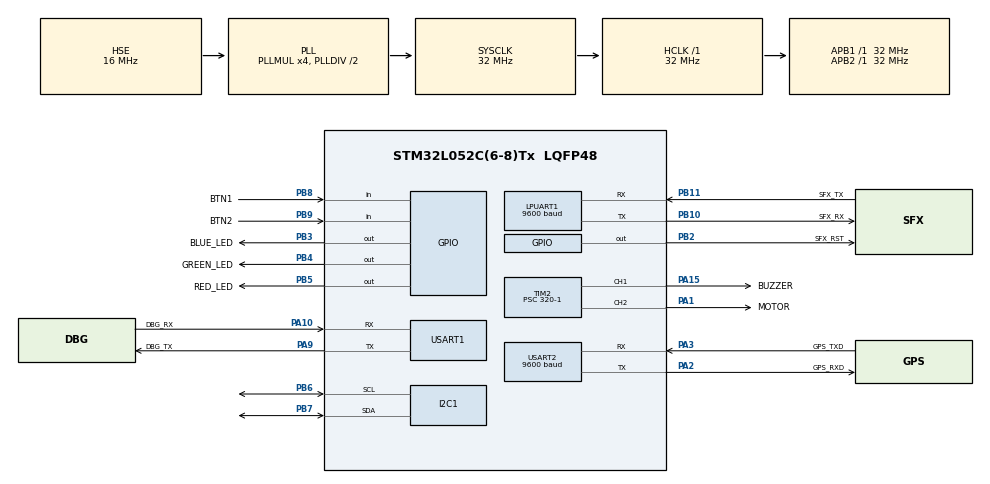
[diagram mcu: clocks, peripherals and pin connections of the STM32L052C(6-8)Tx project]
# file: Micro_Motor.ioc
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I2C1.OwnAddress=15
I2C1.Timing=0x00707CBB
LPUART1.BaudRate=9600
LPUART1.WordLength=UART_WORDLENGTH_8B
Mcu.Family=STM32L0
Mcu.Name=STM32L052C(6-8)Tx
Mcu.Package=LQFP48
NVIC.RNG_LPUART1_IRQn=true\:0\:0\:false\:false\:true\:true\:true
NVIC.USART1_IRQn=true\:0\:0\:false\:false\:true\:true\:true
NVIC.USART2_IRQn=true\:0\:0\:false\:false\:true\:true\:true
PA1.GPIO_Label=MOTOR
PA1.Signal=S_TIM2_CH2
PA10.GPIO_Label=DBG_RX
PA10.Mode=Asynchronous
PA10.Signal=USART1_RX
PA15.GPIO_Label=BUZZER
PA15.Signal=S_TIM2_CH1
PA2.GPIO_Label=GPS_RXD
PA2.Mode=Asynchronous
PA2.Signal=USART2_TX
PA3.GPIO_Label=GPS_TXD
PA3.Mode=Asynchronous
PA3.Signal=USART2_RX
PA9.GPIO_Label=DBG_TX
PA9.Mode=Asynchronous
PA9.Signal=USART1_TX
PB10.GPIO_Label=SFX_RX
PB10.Mode=Asynchronous
PB10.Signal=LPUART1_TX
PB11.GPIO_Label=SFX_TX
PB11.Mode=Asynchronous
PB11.Signal=LPUART1_RX
PB2.GPIO_Label=SFX_RST
PB2.GPIO_PuPd=GPIO_PULLUP
PB2.Signal=GPIO_Output
PB3.GPIO_Label=BLUE_LED
PB3.Signal=GPIO_Output
PB4.GPIO_Label=GREEN_LED
PB4.Signal=GPIO_Output
PB5.GPIO_Label=RED_LED
PB5.Signal=GPIO_Output
PB6.Mode=I2C
PB6.Signal=I2C1_SCL
PB7.Mode=I2C
PB7.Signal=I2C1_SDA
PB8.GPIO_Label=BTN1
PB8.Signal=GPIO_Input
PB9.GPIO_Label=BTN2
PB9.Signal=GPIO_Input
PH0-OSC_IN.Mode=HSE-External-Oscillator
PH0-OSC_IN.Signal=RCC_OSC_IN
PH1-OSC_OUT.Mode=HSE-External-Oscillator
PH1-OSC_OUT.Signal=RCC_OSC_OUT
ProjectManager.HeapSize=0x200
ProjectManager.StackSize=0x400
ProjectManager.TargetToolchain=STM32CubeIDE
RCC.AHBFreq_Value=32000000
RCC.APB1Freq_Value=32000000
RCC.APB1TimFreq_Value=32000000
RCC.APB2Freq_Value=32000000
RCC.APB2TimFreq_Value=32000000
RCC.HCLKFreq_Value=32000000
RCC.HSE_VALUE=16000000
RCC.HSI16_VALUE=16000000
RCC.HSI48_VALUE=48000000
RCC.HSI_VALUE=16000000
RCC.LSE_VALUE=32768
RCC.MSI_VALUE=2097000
RCC.PLLMUL=RCC_PLLMUL_4
RCC.PLLSourceVirtual=RCC_PLLSOURCE_HSE
RCC.SYSCLKFreq_VALUE=32000000
RCC.SYSCLKSource=RCC_SYSCLKSOURCE_PLLCLK
RCC.VCOOutputFreq_Value=64000000
SH.S_TIM2_CH1.0=TIM2_CH1,PWM Generation1 CH1
SH.S_TIM2_CH2.0=TIM2_CH2,PWM Generation2 CH2
TIM2.Channel-PWM\ Generation1\ CH1=TIM_CHANNEL_1
TIM2.Channel-PWM\ Generation2\ CH2=TIM_CHANNEL_2
TIM2.Period=200-1
TIM2.Prescaler=320-1
USART1.VirtualMode-Asynchronous=VM_ASYNC
USART2.BaudRate=9600
USART2.VirtualMode-Asynchronous=VM_ASYNC
board=custom

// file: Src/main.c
/* USER CODE BEGIN Header */
/**
 ******************************************************************************
 * @file           : main.c
 * @brief          : Main program body
 ******************************************************************************
 * @attention
 *
 * <h2><center>&copy; Copyright (c) 2019 STMicroelectronics.
 * All rights reserved.</center></h2>
 *
 * This software component is licensed by ST under BSD 3-Clause license,
 * the "License"; You may not use this file except in compliance with the
 * License. You may obtain a copy of the License at:
 *                        opensource.org/licenses/BSD-3-Clause
 *
 ******************************************************************************
 */

/*
 * main.c
 *
 * Warefab Konnect STM32L0-SIGFOX Development Board
 *
 * Motor control example on TIM2-CH2
 *
 * Created on: Feb 26, 2020
 *
 * Author: Muchiri John
 * (c) wwww.warefab.com
 *
 * This software component is licensed by warefab under BSD 3-Clause license,
 * the "License"; You may not use this file except in compliance with the
 * License. You may obtain a copy of the License at:
 *
 * opensource.org/licenses/BSD-3-Clause
 *
 */

#include <stdio.h>
#include <stdlib.h>
#include <math.h>
/* USER CODE END Header */

#include "main.h"
#include "i2c.h"
#include "usart.h"
#include "tim.h"
#include "gpio.h"

/* USER CODE BEGIN Includes */
#include "sigfox.h"
#include "buzzer.h"
#include "sht30x.h"
/* USER CODE END Includes */

/* USER CODE BEGIN PV */
static const char NMEA_NONE[] =
		"$PMTK314,0,0,0,0,0,0,0,0,0,0,0,0,0,0,0,0,0,0,0*28\r\n";
/* USER CODE END PV */

void SystemClock_Config(void);

/* USER CODE BEGIN 0 */
uint8_t btn1_flag = 0;
uint8_t btn2_flag = 1;

uint32_t prev_ticks = 0;
short int temp = 0;

char buffer[40] = { 0 };

uint16_t sgfx = 0;
uint8_t t_sgfx = 0;

inline uint8_t adcToPercent(uint16_t);
/* USER CODE END 0 */

int main(void) {

	/* MCU Configuration--------------------------------------------------------*/

	/* Reset of all peripherals, Initializes the Flash interface and the Systick. */
	HAL_Init();

	/* Configure the system clock */
	SystemClock_Config();

	/* Initialize all configured peripherals */
	MX_GPIO_Init();
	MX_LPUART1_UART_Init();
	MX_USART1_UART_Init();
	MX_USART2_UART_Init();
	MX_TIM2_Init();
	MX_I2C1_Init();
	/* USER CODE BEGIN 2 */
	//disable gps nmea output
	usart_puts(&huart2, (char*) NMEA_NONE);
	//reset sigfox module
	resetSigfoxModule();
	//print wisol info, ID/PAC
	getSigfoxPACID();
	//init buzzer, motor and green led - stop mode
	stopBuzzer(); //stop buzzer
	driveMotor(0); //stop motor
	GREEN_LED_GPIO_Port->BSRR = GREEN_LED_Pin; //green led on
	//init sht30x temp&hum sensor
	sht30x_init(0x44);
	/* USER CODE END 2 */

	/* Infinite loop */
	/* USER CODE BEGIN WHILE */
	while (1) {
		if ((HAL_GPIO_ReadPin(BTN1_GPIO_Port, BTN1_Pin) == 1) || temp >= 70) {
			if (btn1_flag == 0 && btn2_flag == 1) {
				RED_LED_GPIO_Port->BSRR = RED_LED_Pin;
				GREEN_LED_GPIO_Port->BRR = GREEN_LED_Pin;
				//setBuzzerFreq(600);
				driveMotor(1200);
				btn1_flag = 1;
				btn2_flag = 0;
				usart_puts(&huart1, (char*) "Motor ON\r\n");
			}
		}

		if (HAL_GPIO_ReadPin(BTN2_GPIO_Port, BTN2_Pin) == 1 || temp <= 55) {
			if (btn2_flag == 0 && btn1_flag == 1) {
				GREEN_LED_GPIO_Port->BSRR = GREEN_LED_Pin;
				RED_LED_GPIO_Port->BRR = RED_LED_Pin;
				//stopBuzzer();
				driveMotor(0);
				btn1_flag = 0;
				btn2_flag = 1;
				usart_puts(&huart1, (char*) "Motor OFF\r\n");
			}
		}

		if ((HAL_GetTick() - prev_ticks) > 1000) {
			//sht30 temperature and humidity
			sht30x_get();
			temp = sht30x->humidity;

			sprintf(buffer, "Current Humidity: %d\r\n", sht30x->humidity);
			usart_puts(&huart1, buffer);

			prev_ticks = HAL_GetTick();
			sgfx++;
		}

		if (sgfx >= 240) {
			t_sgfx = sht30x->humidity;
			sprintf(buffer, "%02X", t_sgfx);
			sendSigfoxMessage(buffer);
			sgfx = 0;
		}

		HAL_Delay(1); //yield
		/* USER CODE END WHILE */

	}
}

void SystemClock_Config(void) {
	RCC_OscInitTypeDef RCC_OscInitStruct = { 0 };
	RCC_ClkInitTypeDef RCC_ClkInitStruct = { 0 };
	RCC_PeriphCLKInitTypeDef PeriphClkInit = { 0 };

	/** Configure the main internal regulator output voltage
	 */
	__HAL_PWR_VOLTAGESCALING_CONFIG(PWR_REGULATOR_VOLTAGE_SCALE1);
	/** Initializes the CPU, AHB and APB busses clocks
	 */
	RCC_OscInitStruct.OscillatorType = RCC_OSCILLATORTYPE_HSE;
	RCC_OscInitStruct.HSEState = RCC_HSE_ON;
	RCC_OscInitStruct.PLL.PLLState = RCC_PLL_ON;
	RCC_OscInitStruct.PLL.PLLSource = RCC_PLLSOURCE_HSE;
	RCC_OscInitStruct.PLL.PLLMUL = RCC_PLLMUL_4;
	RCC_OscInitStruct.PLL.PLLDIV = RCC_PLLDIV_2;
	if (HAL_RCC_OscConfig(&RCC_OscInitStruct) != HAL_OK) {
		Error_Handler();
	}
	/** Initializes the CPU, AHB and APB busses clocks
	 */
	RCC_ClkInitStruct.ClockType = RCC_CLOCKTYPE_HCLK | RCC_CLOCKTYPE_SYSCLK
			| RCC_CLOCKTYPE_PCLK1 | RCC_CLOCKTYPE_PCLK2;
	RCC_ClkInitStruct.SYSCLKSource = RCC_SYSCLKSOURCE_PLLCLK;
	RCC_ClkInitStruct.AHBCLKDivider = RCC_SYSCLK_DIV1;
	RCC_ClkInitStruct.APB1CLKDivider = RCC_HCLK_DIV1;
	RCC_ClkInitStruct.APB2CLKDivider = RCC_HCLK_DIV1;

	if (HAL_RCC_ClockConfig(&RCC_ClkInitStruct, FLASH_LATENCY_1) != HAL_OK) {
		Error_Handler();
	}
	PeriphClkInit.PeriphClockSelection = RCC_PERIPHCLK_USART1
			| RCC_PERIPHCLK_USART2 | RCC_PERIPHCLK_LPUART1 | RCC_PERIPHCLK_I2C1;
	PeriphClkInit.Usart1ClockSelection = RCC_USART1CLKSOURCE_PCLK2;
	PeriphClkInit.Usart2ClockSelection = RCC_USART2CLKSOURCE_PCLK1;
	PeriphClkInit.Lpuart1ClockSelection = RCC_LPUART1CLKSOURCE_PCLK1;
	PeriphClkInit.I2c1ClockSelection = RCC_I2C1CLKSOURCE_PCLK1;
	if (HAL_RCCEx_PeriphCLKConfig(&PeriphClkInit) != HAL_OK) {
		Error_Handler();
	}
}

/* USER CODE BEGIN 4 */
inline uint8_t adcToPercent(uint16_t val) {
	uint8_t pct = ceil((val * 100) / 4095.0);
	return pct;
}
/* USER CODE END 4 */

void Error_Handler(void) {
}

/************************ (C) COPYRIGHT STMicroelectronics *****END OF FILE****/
